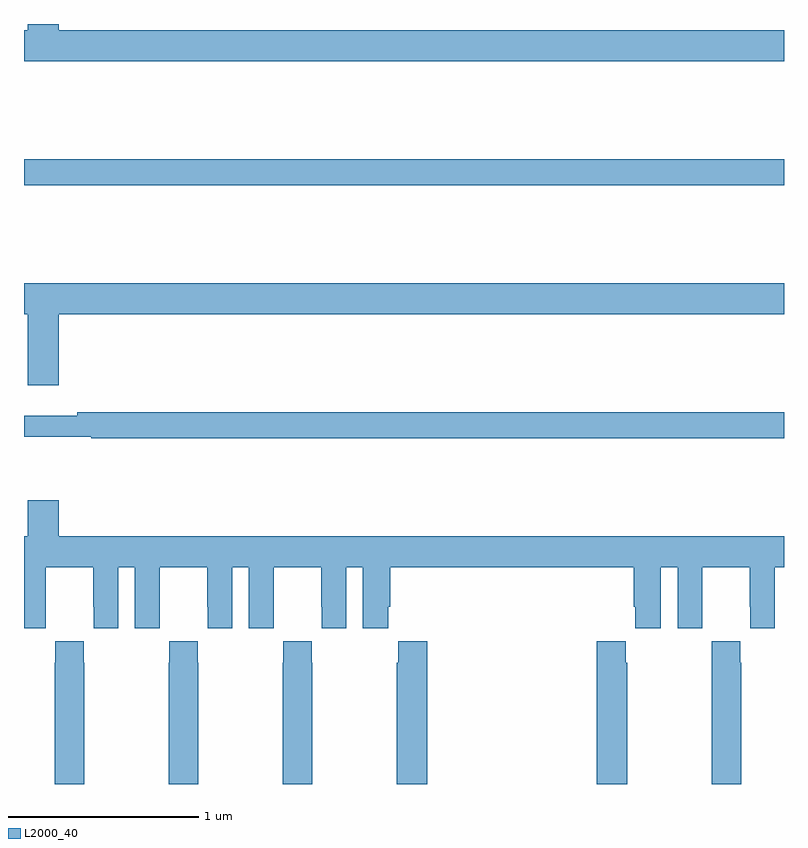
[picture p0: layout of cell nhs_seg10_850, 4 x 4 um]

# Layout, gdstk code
import gdstk
lib = gdstk.Library(unit=1e-6, precision=1e-09)
def R(c, l, rs):  # rectangles x0, y0, x1, y1
    for r in rs: c.add(gdstk.rectangle(r[:2], r[2:], *l))
def P(c, l, *ps):  # polygons
    for p in ps: c.add(gdstk.Polygon(p, *l))
L2000_40 = (2000, 40)

nhs_seg10_850 = lib.new_cell('nhs_seg10_850')
R(nhs_seg10_850, L2000_40, [(153,1311.652,157,1311.788)])
P(nhs_seg10_850, L2000_40, [(157,1312.468),(153.184,1312.468),(153.184,1312.5),(153.02,1312.5),(153.02,1312.468),(153,1312.468),(153,1312.304),(157,1312.304)],
  [(153.184,1310.972),(157,1310.972),(157,1311.136),(153,1311.136),(153,1310.972),(153.02,1310.972),(153.02,1310.598),(153.184,1310.598)],
  [(157,1310.456),(153.28,1310.456),(153.28,1310.437),(153,1310.437),(153,1310.328),(153.355,1310.328),(153.355,1310.32),(157,1310.32)],
  [(153.114,1309.432),(153.115,1309.432),(153.115,1309.64),(153.365,1309.64),(153.365,1309.432),(153.366,1309.432),(153.366,1309.32),(153.496,1309.32),(153.496,1309.64),(153.584,1309.64),(153.584,1309.32),(153.714,1309.32),(153.714,1309.432),(153.715,1309.432),(153.715,1309.64),(153.965,1309.64),(153.965,1309.432),(153.966,1309.432),(153.966,1309.32),(154.096,1309.32),(154.096,1309.64),(154.184,1309.64),(154.184,1309.32),(154.314,1309.32),(154.314,1309.432),(154.315,1309.432),(154.315,1309.64),(154.565,1309.64),(154.565,1309.432),(154.566,1309.432),(154.566,1309.32),(154.696,1309.32),(154.696,1309.64),(154.784,1309.64),(154.784,1309.32),(154.918,1309.32),(154.918,1309.432),(154.928,1309.432),(154.928,1309.64),(156.209,1309.64),(156.209,1309.432),(156.218,1309.432),(156.218,1309.32),(156.352,1309.32),(156.352,1309.64),(156.44,1309.64),(156.44,1309.32),(156.57,1309.32),(156.57,1309.432),(156.571,1309.432),(156.571,1309.64),(156.821,1309.64),(156.821,1309.432),(156.822,1309.432),(156.822,1309.32),(156.952,1309.32),(156.952,1309.64),(157,1309.64),(157,1309.804),(153.184,1309.804),(153.184,1309.993),(153.02,1309.993),(153.02,1309.804),(153,1309.804),(153,1309.32),(153.114,1309.32)],
  [(153.318,1309.139),(153.315,1309.139),(153.315,1309.252),(153.165,1309.252),(153.165,1309.139),(153.163,1309.139),(153.163,1308.5),(153.318,1308.5)],
  [(153.918,1309.139),(153.915,1309.139),(153.915,1309.252),(153.765,1309.252),(153.765,1309.139),(153.763,1309.139),(153.763,1308.5),(153.918,1308.5)],
  [(154.518,1309.139),(154.515,1309.139),(154.515,1309.252),(154.365,1309.252),(154.365,1309.139),(154.363,1309.139),(154.363,1308.5),(154.518,1308.5)],
  [(155.123,1309.252),(154.969,1309.252),(154.969,1309.139),(154.963,1309.139),(154.963,1308.5),(155.123,1308.5)],
  [(156.174,1309.139),(156.167,1309.139),(156.167,1309.252),(156.014,1309.252),(156.014,1308.5),(156.174,1308.5)],
  [(156.774,1309.139),(156.771,1309.139),(156.771,1309.252),(156.621,1309.252),(156.621,1309.139),(156.619,1309.139),(156.619,1308.5),(156.774,1308.5)])

lib.write_gds('nhs_seg10_850.gds')
